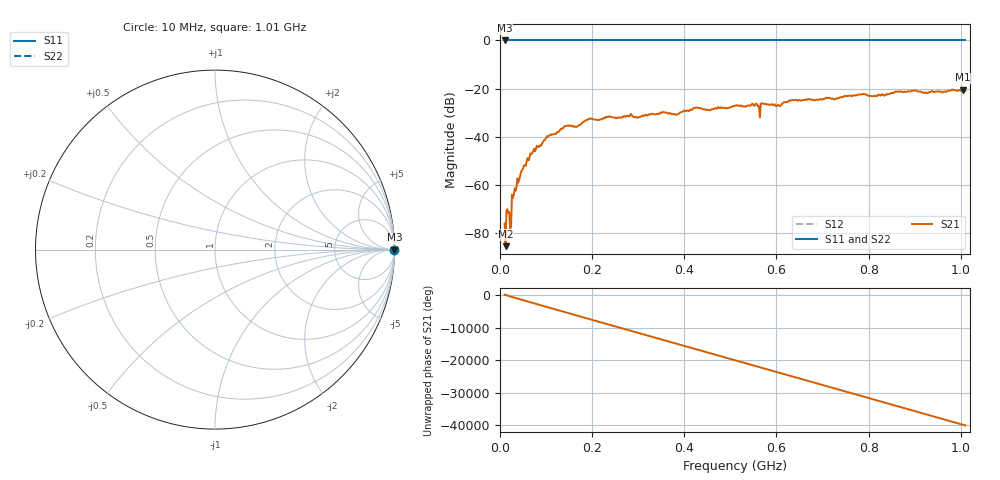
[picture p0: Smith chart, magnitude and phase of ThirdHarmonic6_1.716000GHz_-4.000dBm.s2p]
! 8/16/2025 8:38:43 PM
! C:\ANRITSUVNA\TEMP\TEMP.S2P
! CHANNEL.1
! TR.MEASUREMENT
! RAW.DATA
! RF.CORRECTION.OFF
! AVERAGING.OFF
! IF.BANDWIDTH: 5KHZ
! SWEEPTYPE:  FREQ.SWEEP(Linear)
! Reference Plane Port Info
! PORT:  PORT1  PORT2
! DISTANCE:  0  m  0  m
! TIME:  0  s  0  s
! PHASE.OFFSET:  0  deg.  0  deg.
! LOSS:  0  dB  0  dB
! REF.LOSS:  0  dB  0  dB
! REF.FREQ:  0  Hz  0  Hz
! Power Info
! POWER:  -20  dBm  -20  dBm
! EFF.POWER:  -20  dBm  -20  dBm
! SOURCE.ATTEN:  0  dB  0  dB
! TEST.ATTEN:  0  dB  0  dB
# GHZ S RI R 50.0
! FREQ.GHZ  S11RE  S11IM  S21RE  S21IM  S12RE  S12IM  S22RE  S22IM
!; PortSelection: Port_12
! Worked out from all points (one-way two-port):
!   501 points, 10 MHz to 1.01 GHz, reference 50 ohm
!   highest |S21| = -20.51 dB at 1.004 GHz (marker M1); lowest = -85.6 dB at 12 MHz (marker M2)
!   lowest |S11| = 0.0 dB at 10 MHz (marker M3)
!   |S11| at or under -10 dB: nowhere
!   |S22| runs from 0.0 to 0.0 dB; largest |S21 - S12| = 1.1
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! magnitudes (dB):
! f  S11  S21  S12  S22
! 10 MHz  0.0  -76.2  0.0  0.0
! 12 MHz  0.0  -85.6  0.0  0.0
! 18 MHz  0.0  -71.8  0.0  0.0
! 20 MHz  0.0  -71.4  0.0  0.0
! 26 MHz  0.0  -64.2  0.0  0.0
! 30 MHz  0.0  -64.2  0.0  0.0
! 48 MHz  0.0  -54.1  0.0  0.0
! 70 MHz  0.0  -46.8  0.0  0.0
! 106 MHz  0.0  -39.7  0.0  0.0
! 142 MHz  0.0  -35.7  0.0  0.0
! 178 MHz  0.0  -34.4  0.0  0.0
! 196 MHz  0.0  -32.6  0.0  0.0
! 344 MHz  0.0  -30.7  0.0  0.0
! 510 MHz  0.0  -27.2  0.0  0.0
! 562 MHz  0.0  -27.3  0.0  0.0
! 570 MHz  0.0  -26.1  0.0  0.0
! 604 MHz  0.0  -26.8  0.0  0.0
! 632 MHz  0.0  -24.9  0.0  0.0
! 678 MHz  0.0  -24.7  0.0  0.0
! 844 MHz  0.0  -22.4  0.0  0.0
! 1.004 GHz  0.0  -20.5  0.0  0.0
! 1.01 GHz  0.0  -21.0  0.0  0.0
